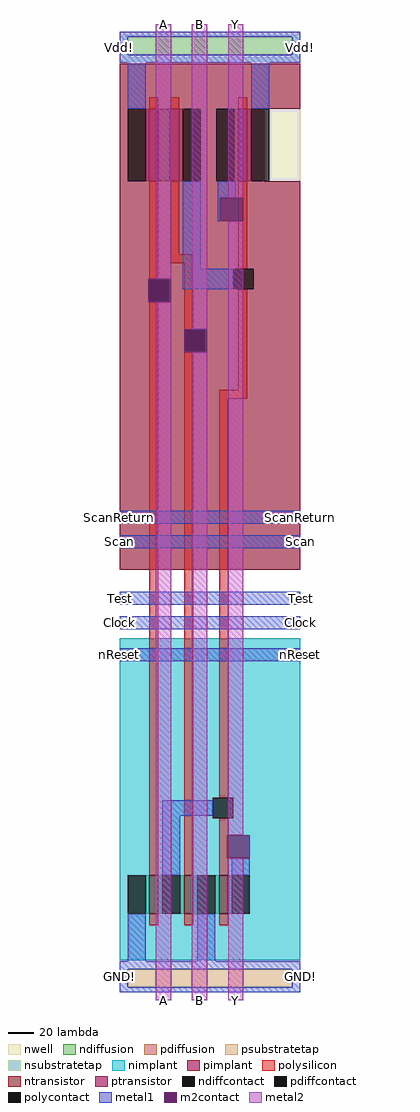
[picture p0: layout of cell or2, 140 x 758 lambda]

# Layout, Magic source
magic
tech c35b4
<< pimplant >>
rect 0 692 140 727
rect 0 636 112 692
rect 0 334 140 636
<< nimplant >>
rect 0 31 140 281
<< nwell >>
rect 0 334 140 752
<< polysilicon >>
rect 23 692 30 701
rect 39 692 46 701
rect 92 692 99 701
rect 23 559 30 636
rect 39 579 46 636
rect 39 572 57 579
rect 23 97 30 543
rect 50 520 57 572
rect 92 568 99 636
rect 50 97 57 504
rect 92 474 99 552
rect 77 467 99 474
rect 77 157 84 467
rect 77 97 84 141
rect 23 58 30 67
rect 50 58 57 67
rect 77 58 84 67
<< ndiffusion >>
rect 20 67 23 97
rect 30 67 33 97
rect 47 67 50 97
rect 57 67 60 97
rect 74 67 77 97
rect 84 67 87 97
<< pdiffusion >>
rect 20 636 23 692
rect 30 636 39 692
rect 46 636 49 692
rect 89 636 92 692
rect 99 636 102 692
<< ntransistor >>
rect 23 67 30 97
rect 50 67 57 97
rect 77 67 84 97
<< ptransistor >>
rect 23 636 30 692
rect 39 636 46 692
rect 92 636 99 692
<< polycontact >>
rect 22 543 38 559
rect 88 552 104 568
rect 50 504 66 520
rect 72 141 88 157
<< ndiffcontact >>
rect 6 67 20 97
rect 33 67 47 97
rect 60 67 74 97
rect 87 67 101 97
<< pdiffcontact >>
rect 6 636 20 692
rect 49 636 63 692
rect 75 636 89 692
rect 102 636 116 692
<< psubstratetap >>
rect 6 10 134 24
<< nsubstratetap >>
rect 6 734 134 748
<< metal1 >>
rect 0 748 140 752
rect 0 734 6 748
rect 134 734 140 748
rect 0 728 140 734
rect 6 692 20 728
rect 102 692 116 728
rect 49 568 63 636
rect 76 623 90 636
rect 76 605 78 623
rect 49 552 88 568
rect 0 370 140 380
rect 0 351 140 361
rect 0 307 140 317
rect 0 288 140 298
rect 0 263 140 273
rect 33 143 72 155
rect 33 97 47 143
rect 87 97 101 110
rect 6 30 20 67
rect 60 30 74 67
rect 0 24 140 30
rect 0 10 6 24
rect 134 10 140 24
rect 0 6 140 10
<< m2contact >>
rect 78 605 96 623
rect 22 559 40 560
rect 22 543 38 559
rect 38 543 40 559
rect 22 542 40 543
rect 50 520 68 521
rect 50 504 66 520
rect 66 504 68 520
rect 50 503 68 504
rect 83 110 101 128
<< metal2 >>
rect 28 560 40 758
rect 28 0 40 542
rect 56 521 68 758
rect 84 623 96 758
rect 56 0 68 503
rect 84 128 96 605
rect 84 0 96 110
<< labels >>
rlabel metal2 28 0 40 0 1 A
rlabel metal2 56 0 68 0 1 B
rlabel metal1 0 6 0 30 3 GND!
rlabel metal1 0 728 0 752 3 Vdd!
rlabel metal2 28 758 40 758 5 A
rlabel metal2 56 758 68 758 5 B
rlabel metal1 0 263 0 273 3 nReset
rlabel metal1 0 288 0 298 3 Clock
rlabel metal1 0 307 0 317 3 Test
rlabel metal1 0 351 0 361 3 Scan
rlabel metal1 0 370 0 380 3 ScanReturn
rlabel metal2 84 758 96 758 5 Y
rlabel metal2 84 0 96 0 1 Y
rlabel metal1 140 728 140 752 7 Vdd!
rlabel metal1 140 6 140 30 7 GND!
rlabel metal1 140 263 140 273 7 nReset
rlabel metal1 140 288 140 298 7 Clock
rlabel metal1 140 307 140 317 7 Test
rlabel metal1 140 351 140 361 7 Scan
rlabel metal1 140 370 140 380 7 ScanReturn
<< end >>
